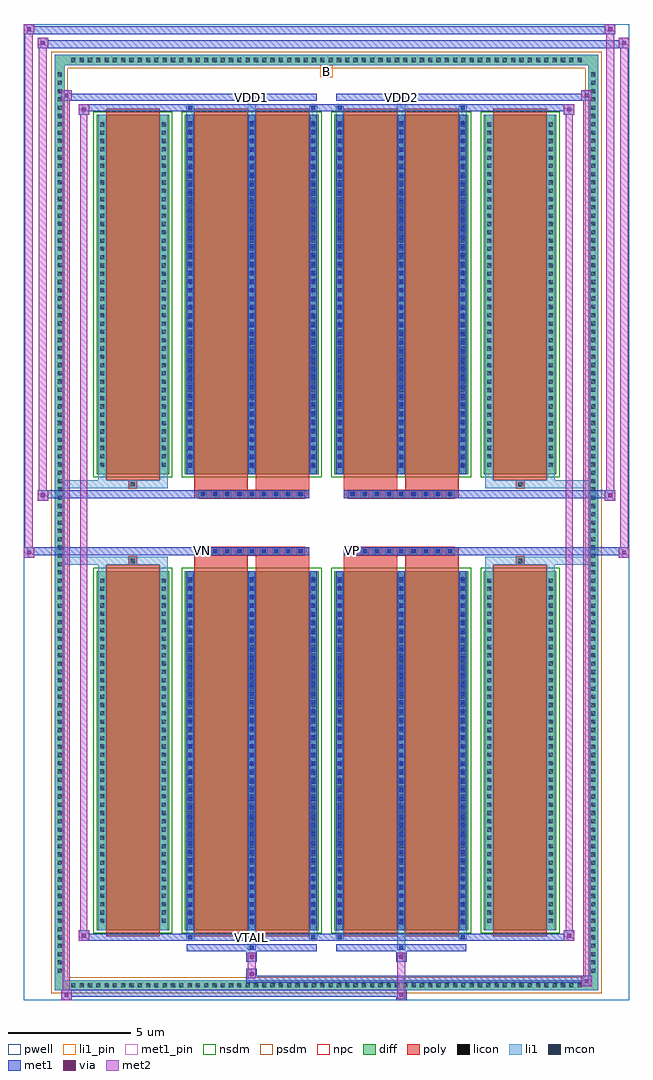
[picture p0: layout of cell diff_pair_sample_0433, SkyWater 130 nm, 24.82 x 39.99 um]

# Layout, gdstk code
import gdstk
lib = gdstk.Library(unit=1e-6, precision=5e-09)
def R(c, l, rs):  # rectangles x0, y0, x1, y1
    for r in rs: c.add(gdstk.rectangle(r[:2], r[2:], *l))
def A(c, l, x, y, w, h, nx, ny, dx, dy):  # array of equal rectangles
    R(c, l, [(x+i*dx, y+j*dy, x+i*dx+w, y+j*dy+h) for i in range(nx) for j in range(ny)])
def P(c, l, *ps):  # polygons
    for p in ps: c.add(gdstk.Polygon(p, *l))
pwell = (64, 44)
diff = (65, 20)
poly = (66, 20)
licon = (66, 44)
li1_pin = (67, 16)
li1 = (67, 20)
mcon = (67, 44)
met1_pin = (68, 16)
met1 = (68, 20)
via = (68, 44)
met2 = (69, 20)
nsdm = (93, 44)
psdm = (94, 20)
npc = (95, 20)

diff_pair_sample_0433 = lib.new_cell('diff_pair_sample_0433')
R(diff_pair_sample_0433, pwell, [(-12.41,-19.56,12.41,20.43), (-9.73,-17.75,-0.01,-0.805), (0.01,-17.75,9.73,-0.805), (-9.73,0.805,-0.01,17.75), (0.01,0.805,9.73,17.75)])
A(diff_pair_sample_0433, diff, -10.575, -19.16, 0.41, 0.41, 62, 2, 0.34, 37.91)
A(diff_pair_sample_0433, diff, -11.14, -18.565, 0.41, 0.41, 1, 109, 0, 0.34)
A(diff_pair_sample_0433, diff, 10.73, -18.565, 0.41, 0.41, 1, 109, 0, 0.34)
R(diff_pair_sample_0433, diff, [(-10.575,-19.16,10.575,-18.75), (-11.14,-18.565,-10.73,18.565), (10.73,-18.565,11.14,18.565), (-9.42,-16.705,-6.45,-1.985), (-5.81,-16.705,-0.32,-1.985), (0.32,-16.705,5.81,-1.985), (6.45,-16.705,9.42,-1.985), (-9.42,1.985,-6.45,16.705), (-5.81,1.985,-0.32,16.705), (0.32,1.985,5.81,16.705), (6.45,1.985,9.42,16.705), (-10.575,18.75,10.575,19.16)])
P(diff_pair_sample_0433, diff, [(11.14,19.16),(-11.14,19.16),(-11.14,-18.75),(-10.73,-18.75),(-10.73,18.75),(10.73,18.75),(10.73,-18.75),(-10.73,-18.75),(-11.14,-18.75),(-11.14,-19.16),(11.14,-19.16)])
A(diff_pair_sample_0433, poly, -5.23, -1.335, 0.33, 0.33, 9, 2, 0.5, 2.34)
A(diff_pair_sample_0433, poly, 0.9, -1.335, 0.33, 0.33, 9, 2, 0.5, 2.34)
R(diff_pair_sample_0433, poly, [(-9.03,-16.955,-6.84,-1.735), (-5.42,-16.955,-3.23,-1.735), (-2.9,-16.955,-0.71,-1.735), (0.71,-16.955,2.9,-1.735), (3.23,-16.955,5.42,-1.735), (6.84,-16.955,9.03,-1.735), (-8.1,-1.735,-7.77,-1.405), (-8.1,-1.735,-7.77,-1.405), (-5.42,-1.735,-3.23,-1.335), (-2.9,-1.735,-0.71,-1.335), (0.71,-1.735,2.9,-1.335), (3.23,-1.735,5.42,-1.335), (7.77,-1.735,8.1,-1.405), (7.77,-1.735,8.1,-1.405), (-5.42,-1.335,-0.71,-1.005), (0.71,-1.335,5.42,-1.005), (-5.42,1.005,-0.71,1.335), (0.71,1.005,5.42,1.335), (-5.42,1.335,-3.23,1.735), (-2.9,1.335,-0.71,1.735), (0.71,1.335,2.9,1.735), (3.23,1.335,5.42,1.735), (-8.1,1.405,-7.77,1.735), (-8.1,1.405,-7.77,1.735), (7.77,1.405,8.1,1.735), (7.77,1.405,8.1,1.735), (-9.03,1.735,-6.84,16.955), (-5.42,1.735,-3.23,16.955), (-2.9,1.735,-0.71,16.955), (0.71,1.735,2.9,16.955), (3.23,1.735,5.42,16.955), (6.84,1.735,9.03,16.955)])
A(diff_pair_sample_0433, licon, -10.455, -19.04, 0.17, 0.17, 62, 2, 0.34, 37.91)
A(diff_pair_sample_0433, licon, -11.02, -18.445, 0.17, 0.17, 1, 109, 0, 0.34)
A(diff_pair_sample_0433, licon, 10.85, -18.445, 0.17, 0.17, 1, 109, 0, 0.34)
A(diff_pair_sample_0433, licon, -9.28, -16.4, 0.17, 0.17, 1, 42, 0, 0.34)
A(diff_pair_sample_0433, licon, -6.76, -16.4, 0.17, 0.17, 1, 42, 0, 0.34)
A(diff_pair_sample_0433, licon, -5.67, -16.4, 0.17, 0.17, 3, 42, 2.52, 0.34)
A(diff_pair_sample_0433, licon, 0.46, -16.4, 0.17, 0.17, 3, 42, 2.52, 0.34)
A(diff_pair_sample_0433, licon, 6.59, -16.4, 0.17, 0.17, 1, 42, 0, 0.34)
A(diff_pair_sample_0433, licon, 9.11, -16.4, 0.17, 0.17, 1, 42, 0, 0.34)
A(diff_pair_sample_0433, licon, -5.15, -1.255, 0.17, 0.17, 9, 2, 0.5, 2.34)
A(diff_pair_sample_0433, licon, 0.98, -1.255, 0.17, 0.17, 9, 2, 0.5, 2.34)
A(diff_pair_sample_0433, licon, -9.28, 2.29, 0.17, 0.17, 1, 42, 0, 0.34)
A(diff_pair_sample_0433, licon, -6.76, 2.29, 0.17, 0.17, 1, 42, 0, 0.34)
A(diff_pair_sample_0433, licon, -5.67, 2.29, 0.17, 0.17, 3, 42, 2.52, 0.34)
A(diff_pair_sample_0433, licon, 0.46, 2.29, 0.17, 0.17, 3, 42, 2.52, 0.34)
A(diff_pair_sample_0433, licon, 6.59, 2.29, 0.17, 0.17, 1, 42, 0, 0.34)
A(diff_pair_sample_0433, licon, 9.11, 2.29, 0.17, 0.17, 1, 42, 0, 0.34)
R(diff_pair_sample_0433, licon, [(-8.02,-1.655,-7.85,-1.485), (7.85,-1.655,8.02,-1.485), (-8.02,1.485,-7.85,1.655), (7.85,1.485,8.02,1.655)])
R(diff_pair_sample_0433, li1_pin, [(-0.25,18.25,0.25,18.75)])
A(diff_pair_sample_0433, li1, -10.535, -19.12, 0.33, 0.33, 62, 2, 0.34, 37.91)
A(diff_pair_sample_0433, li1, -11.1, -18.525, 0.33, 0.33, 1, 109, 0, 0.34)
A(diff_pair_sample_0433, li1, 10.77, -18.525, 0.33, 0.33, 1, 109, 0, 0.34)
A(diff_pair_sample_0433, li1, -5.75, -16.705, 0.33, 14.72, 3, 2, 2.52, 18.69)
A(diff_pair_sample_0433, li1, 0.38, -16.705, 0.33, 14.72, 3, 2, 2.52, 18.69)
A(diff_pair_sample_0433, li1, -9.36, -16.48, 0.33, 0.33, 1, 42, 0, 0.34)
A(diff_pair_sample_0433, li1, -6.84, -16.48, 0.33, 0.33, 1, 42, 0, 0.34)
A(diff_pair_sample_0433, li1, -5.75, -16.48, 0.33, 0.33, 3, 42, 2.52, 0.34)
A(diff_pair_sample_0433, li1, 0.38, -16.48, 0.33, 0.33, 3, 42, 2.52, 0.34)
A(diff_pair_sample_0433, li1, 6.51, -16.48, 0.33, 0.33, 1, 42, 0, 0.34)
A(diff_pair_sample_0433, li1, 9.03, -16.48, 0.33, 0.33, 1, 42, 0, 0.34)
A(diff_pair_sample_0433, li1, -5.67, -16.45, 0.17, 0.17, 3, 40, 2.52, 0.36)
A(diff_pair_sample_0433, li1, -5.67, -16.45, 0.17, 14.21, 3, 2, 2.52, 18.69)
A(diff_pair_sample_0433, li1, 0.46, -16.45, 0.17, 0.17, 3, 40, 2.52, 0.36)
A(diff_pair_sample_0433, li1, 0.46, -16.45, 0.17, 14.21, 3, 2, 2.52, 18.69)
A(diff_pair_sample_0433, li1, -5.23, -1.335, 0.33, 0.33, 9, 2, 0.5, 2.34)
A(diff_pair_sample_0433, li1, 0.9, -1.335, 0.33, 0.33, 9, 2, 0.5, 2.34)
A(diff_pair_sample_0433, li1, -9.36, 2.21, 0.33, 0.33, 1, 42, 0, 0.34)
A(diff_pair_sample_0433, li1, -6.84, 2.21, 0.33, 0.33, 1, 42, 0, 0.34)
A(diff_pair_sample_0433, li1, -5.75, 2.21, 0.33, 0.33, 3, 42, 2.52, 0.34)
A(diff_pair_sample_0433, li1, 0.38, 2.21, 0.33, 0.33, 3, 42, 2.52, 0.34)
A(diff_pair_sample_0433, li1, 6.51, 2.21, 0.33, 0.33, 1, 42, 0, 0.34)
A(diff_pair_sample_0433, li1, 9.03, 2.21, 0.33, 0.33, 1, 42, 0, 0.34)
A(diff_pair_sample_0433, li1, -5.67, 2.24, 0.17, 0.17, 3, 40, 2.52, 0.36)
A(diff_pair_sample_0433, li1, 0.46, 2.24, 0.17, 0.17, 3, 40, 2.52, 0.36)
R(diff_pair_sample_0433, li1, [(-11.14,-19.16,-10.73,-18.75), (-11.14,-19.16,-10.73,-18.75), (-10.73,-19.16,10.73,-18.75), (10.73,-19.16,11.14,-18.75), (10.73,-19.16,11.14,-18.75), (-11.14,-18.75,-10.73,18.75), (10.73,-18.75,11.14,18.75), (-3.23,-17.51,-2.9,-16.705), (-3.15,-17.51,-2.98,-17.34), (2.9,-17.51,3.23,-16.705), (2.98,-17.51,3.15,-17.34), (-5.75,-17.08,-5.42,-16.705), (-5.67,-17.08,-5.5,-16.91), (-0.71,-17.08,-0.38,-16.705), (-0.63,-17.08,-0.46,-16.91), (0.38,-17.08,0.71,-16.705), (0.46,-17.08,0.63,-16.91), (5.42,-17.08,5.75,-16.705), (5.5,-17.08,5.67,-16.91), (-9.36,-16.705,-9.03,-1.985), (-6.84,-16.705,-6.51,-1.985), (6.51,-16.705,6.84,-1.985), (9.03,-16.705,9.36,-1.985), (-9.36,-1.985,-9.03,-1.405), (-6.84,-1.985,-6.51,-1.405), (6.51,-1.985,6.84,-1.405), (9.03,-1.985,9.36,-1.405), (-11.14,-1.735,-8.1,-1.405), (-9.36,-1.735,-8.1,-1.405), (-8.1,-1.735,-7.77,-1.405), (-7.77,-1.735,-6.51,-1.405), (6.51,-1.735,7.77,-1.405), (7.77,-1.735,8.1,-1.405), (7.77,-1.735,11.14,-1.405), (8.1,-1.735,9.36,-1.405), (-11.14,1.405,-8.1,1.735), (-9.36,1.405,-8.1,1.735), (-9.36,1.405,-9.03,1.985), (-8.1,1.405,-7.77,1.735), (-7.77,1.405,-6.51,1.735), (-6.84,1.405,-6.51,1.985), (6.51,1.405,7.77,1.735), (6.51,1.405,6.84,1.985), (7.77,1.405,8.1,1.735), (7.77,1.405,11.14,1.735), (8.1,1.405,9.36,1.735), (9.03,1.405,9.36,1.985), (-9.36,1.985,-9.03,16.705), (-6.84,1.985,-6.51,16.705), (6.51,1.985,6.84,16.705), (9.03,1.985,9.36,16.705), (-5.75,16.705,-5.42,17.08), (-3.23,16.705,-2.9,17.51), (-0.71,16.705,-0.38,17.08), (0.38,16.705,0.71,17.08), (2.9,16.705,3.23,17.51), (5.42,16.705,5.75,17.08), (-5.67,16.91,-5.5,17.08), (-0.63,16.91,-0.46,17.08), (0.46,16.91,0.63,17.08), (5.5,16.91,5.67,17.08), (-3.15,17.34,-2.98,17.51), (2.98,17.34,3.15,17.51), (-11.14,18.75,-10.73,19.16), (-11.14,18.75,-10.73,19.16), (-10.73,18.75,10.73,19.16), (10.73,18.75,11.14,19.16), (10.73,18.75,11.14,19.16)])
A(diff_pair_sample_0433, mcon, -5.67, -16.45, 0.17, 0.17, 3, 40, 2.52, 0.36)
A(diff_pair_sample_0433, mcon, 0.46, -16.45, 0.17, 0.17, 3, 40, 2.52, 0.36)
A(diff_pair_sample_0433, mcon, -5.15, -1.255, 0.17, 0.17, 9, 2, 0.5, 2.34)
A(diff_pair_sample_0433, mcon, 0.98, -1.255, 0.17, 0.17, 9, 2, 0.5, 2.34)
A(diff_pair_sample_0433, mcon, -5.67, 2.24, 0.17, 0.17, 3, 40, 2.52, 0.36)
A(diff_pair_sample_0433, mcon, 0.46, 2.24, 0.17, 0.17, 3, 40, 2.52, 0.36)
R(diff_pair_sample_0433, mcon, [(-3.15,-17.51,-2.98,-17.34), (2.98,-17.51,3.15,-17.34), (-5.67,-17.08,-5.5,-16.91), (-0.63,-17.08,-0.46,-16.91), (0.46,-17.08,0.63,-16.91), (5.5,-17.08,5.67,-16.91), (-5.67,16.91,-5.5,17.08), (-0.63,16.91,-0.46,17.08), (0.46,16.91,0.63,17.08), (5.5,16.91,5.67,17.08), (-3.15,17.34,-2.98,17.51), (2.98,17.34,3.15,17.51)])
R(diff_pair_sample_0433, met1_pin, [(-3.2,-17.12,-2.93,-16.85), (-5.2,-1.295,-4.93,-1.025), (0.93,-1.295,1.2,-1.025), (-3.2,17.3,-2.93,17.57), (2.93,17.3,3.2,17.57)])
A(diff_pair_sample_0433, met1, -5.73, -16.705, 0.29, 14.72, 3, 2, 2.52, 18.69)
A(diff_pair_sample_0433, met1, 0.4, -16.705, 0.29, 14.72, 3, 2, 2.52, 18.69)
A(diff_pair_sample_0433, met1, -5.73, -16.51, 0.29, 0.29, 3, 40, 2.52, 0.36)
A(diff_pair_sample_0433, met1, 0.4, -16.51, 0.29, 0.29, 3, 40, 2.52, 0.36)
A(diff_pair_sample_0433, met1, -5.21, -1.315, 0.29, 0.29, 9, 2, 0.5, 2.34)
A(diff_pair_sample_0433, met1, 0.92, -1.315, 0.29, 0.29, 9, 2, 0.5, 2.34)
A(diff_pair_sample_0433, met1, -5.73, 2.18, 0.29, 0.29, 3, 40, 2.52, 0.36)
A(diff_pair_sample_0433, met1, 0.4, 2.18, 0.29, 0.29, 3, 40, 2.52, 0.36)
R(diff_pair_sample_0433, met1, [(-10.87,-19.56,-10.44,-19.13), (2.85,-19.56,3.28,-19.13), (-10.87,-19.42,3.28,-19.13), (10.44,-18.99,10.87,-18.56), (-3.28,-18.85,10.87,-18.56), (-3.28,-18.71,-2.85,-18.28), (-3.28,-18,-2.85,-17.57), (2.85,-18,3.28,-17.57), (-5.73,-17.57,-0.4,-17.28), (-3.21,-17.57,-2.92,-17.28), (0.4,-17.57,5.73,-17.28), (2.92,-17.57,3.21,-17.28), (-10.16,-17.14,-9.73,-16.71), (-10.16,-17.14,-5.73,-16.85), (-5.73,-17.14,-5.44,-16.85), (-5.73,-17.14,-0.4,-16.85), (-0.69,-17.14,-0.4,-16.85), (-0.4,-17.14,0.4,-16.85), (0.4,-17.14,0.69,-16.85), (0.4,-17.14,5.73,-16.85), (5.44,-17.14,5.73,-16.85), (5.73,-17.14,10.16,-16.85), (9.73,-17.14,10.16,-16.71), (-12.41,-1.435,-11.98,-1.005), (11.98,-1.435,12.41,-1.005), (-12.41,-1.335,-0.71,-1.005), (-5.42,-1.335,-0.71,-1.005), (0.71,-1.335,5.42,-1.005), (0.71,-1.335,12.41,-1.005), (-11.84,0.905,-11.41,1.335), (11.41,0.905,11.84,1.335), (-11.84,1.005,-5.42,1.335), (-5.42,1.005,-0.71,1.335), (0.71,1.005,5.42,1.335), (5.42,1.005,11.84,1.335), (-10.16,16.71,-9.73,17.14), (9.73,16.71,10.16,17.14), (-10.16,16.85,-5.73,17.14), (-5.73,16.85,-5.44,17.14), (-5.73,16.85,-0.4,17.14), (-0.69,16.85,-0.4,17.14), (-0.4,16.85,0.4,17.14), (0.4,16.85,0.69,17.14), (0.4,16.85,5.73,17.14), (5.44,16.85,5.73,17.14), (5.73,16.85,10.16,17.14), (-10.87,17.28,-10.44,17.71), (-10.87,17.28,-5.73,17.57), (-5.73,17.28,-0.4,17.57), (-3.21,17.28,-2.92,17.57), (0.4,17.28,5.73,17.57), (2.92,17.28,3.21,17.57), (5.73,17.28,10.87,17.57), (10.44,17.28,10.87,17.71), (-11.84,19.43,-11.41,19.86), (-11.84,19.43,-9.73,19.76), (-9.73,19.43,9.73,19.76), (9.73,19.43,12.41,19.76), (11.98,19.43,12.41,19.86), (-12.41,20,-11.98,20.43), (-12.41,20,-9.73,20.33), (-9.73,20,9.73,20.33), (9.73,20,11.84,20.33), (11.41,20,11.84,20.43)])
R(diff_pair_sample_0433, via, [(-10.73,-19.42,-10.58,-19.27), (2.99,-19.42,3.14,-19.27), (10.58,-18.85,10.73,-18.7), (-3.14,-18.57,-2.99,-18.42), (-3.14,-17.86,-2.99,-17.71), (2.99,-17.86,3.14,-17.71), (-10.02,-17,-9.87,-16.85), (9.87,-17,10.02,-16.85), (-12.27,-1.295,-12.12,-1.145), (12.12,-1.295,12.27,-1.145), (-11.7,1.045,-11.55,1.195), (11.55,1.045,11.7,1.195), (-10.02,16.85,-9.87,17), (9.87,16.85,10.02,17), (-10.73,17.42,-10.58,17.57), (10.58,17.42,10.73,17.57), (-11.7,19.57,-11.55,19.72), (12.12,19.57,12.27,19.72), (-12.27,20.14,-12.12,20.29), (11.55,20.14,11.7,20.29)])
R(diff_pair_sample_0433, met2, [(-10.87,-19.56,-10.44,-19.13), (-10.8,-19.56,-10.51,17.71), (-10.51,-19.56,-10.44,-19.13), (-10.82,-19.51,-10.49,-19.18), (2.9,-19.51,3.23,-19.18), (2.9,-19.18,3.23,-17.95), (10.44,-18.99,10.87,-18.56), (10.51,-18.99,10.8,17.71), (10.8,-18.99,10.87,-18.56), (10.49,-18.94,10.82,-18.61), (-3.23,-18.66,-2.9,-18.33), (-3.23,-18.33,-2.9,-17.95), (-3.23,-17.95,-2.9,-17.62), (2.9,-17.95,3.23,-17.62), (-10.16,-17.14,-9.73,-16.71), (-10.09,-17.14,-9.8,17.14), (-9.8,-17.14,-9.73,-16.71), (9.73,-17.14,10.16,-16.71), (9.8,-17.14,10.09,17.14), (10.09,-17.14,10.16,-16.71), (-10.11,-17.09,-9.78,-16.76), (9.78,-17.09,10.11,-16.76), (-12.41,-1.435,-11.98,-1.005), (-12.36,-1.435,-12.03,20.43), (-12.03,-1.435,-11.98,-1.005), (11.98,-1.435,12.41,-1.005), (12.03,-1.435,12.36,19.86), (12.36,-1.435,12.41,-1.005), (-12.36,-1.385,-12.03,-1.055), (12.03,-1.385,12.36,-1.055), (-11.84,0.905,-11.41,1.335), (-11.79,0.905,-11.46,19.86), (-11.46,0.905,-11.41,1.335), (11.41,0.905,11.84,1.335), (11.46,0.905,11.79,20.43), (11.79,0.905,11.84,1.335), (-11.79,0.955,-11.46,1.285), (11.46,0.955,11.79,1.285), (-10.16,16.71,-9.73,17.14), (-9.8,16.71,-9.73,17.14), (9.73,16.71,10.16,17.14), (10.09,16.71,10.16,17.14), (-10.11,16.76,-9.78,17.09), (9.78,16.76,10.11,17.09), (-10.87,17.28,-10.44,17.71), (-10.51,17.28,-10.44,17.71), (10.44,17.28,10.87,17.71), (10.8,17.28,10.87,17.71), (-10.82,17.33,-10.49,17.66), (10.49,17.33,10.82,17.66), (-11.84,19.43,-11.41,19.86), (-11.46,19.43,-11.41,19.86), (11.98,19.43,12.41,19.86), (12.36,19.43,12.41,19.86), (-11.79,19.48,-11.46,19.81), (12.03,19.48,12.36,19.81), (-12.41,20,-11.98,20.43), (-12.03,20,-11.98,20.43), (11.41,20,11.84,20.43), (11.79,20,11.84,20.43), (-12.36,20.05,-12.03,20.38), (11.46,20.05,11.79,20.38)])
R(diff_pair_sample_0433, nsdm, [(-9.55,-16.835,-6.32,-1.855), (-5.94,-16.835,-0.19,-1.855), (0.19,-16.835,5.94,-1.855), (6.32,-16.835,9.55,-1.855), (-9.55,1.855,-6.32,16.835), (-5.94,1.855,-0.19,16.835), (0.19,1.855,5.94,16.835), (6.32,1.855,9.55,16.835)])
P(diff_pair_sample_0433, psdm, [(11.27,19.29),(-11.27,19.29),(-11.27,-18.62),(-10.6,-18.62),(-10.6,18.62),(10.6,18.62),(10.6,-18.62),(-10.6,-18.62),(-11.27,-18.62),(-11.27,-19.29),(11.27,-19.29)])
A(diff_pair_sample_0433, npc, -5.25, -1.355, 0.37, 0.37, 9, 2, 0.5, 2.34)
A(diff_pair_sample_0433, npc, 0.88, -1.355, 0.37, 0.37, 9, 2, 0.5, 2.34)
R(diff_pair_sample_0433, npc, [(-8.12,-1.755,-7.75,-1.385), (7.75,-1.755,8.12,-1.385), (-5.25,-1.355,-4.38,-0.985), (-5.25,-1.355,-4.38,-0.985), (-4.75,-1.355,-3.88,-0.985), (-4.75,-1.355,-3.88,-0.985), (-4.25,-1.355,-3.38,-0.985), (-4.25,-1.355,-3.38,-0.985), (-3.75,-1.355,-2.88,-0.985), (-3.75,-1.355,-2.88,-0.985), (-3.25,-1.355,-2.38,-0.985), (-3.25,-1.355,-2.38,-0.985), (-2.75,-1.355,-1.88,-0.985), (-2.75,-1.355,-1.88,-0.985), (-2.25,-1.355,-1.38,-0.985), (-2.25,-1.355,-1.38,-0.985), (-1.75,-1.355,-0.88,-0.985), (-1.75,-1.355,-0.88,-0.985), (0.88,-1.355,1.75,-0.985), (0.88,-1.355,1.75,-0.985), (1.38,-1.355,2.25,-0.985), (1.38,-1.355,2.25,-0.985), (1.88,-1.355,2.75,-0.985), (1.88,-1.355,2.75,-0.985), (2.38,-1.355,3.25,-0.985), (2.38,-1.355,3.25,-0.985), (2.88,-1.355,3.75,-0.985), (2.88,-1.355,3.75,-0.985), (3.38,-1.355,4.25,-0.985), (3.38,-1.355,4.25,-0.985), (3.88,-1.355,4.75,-0.985), (3.88,-1.355,4.75,-0.985), (4.38,-1.355,5.25,-0.985), (4.38,-1.355,5.25,-0.985), (-5.25,0.985,-4.38,1.355), (-5.25,0.985,-4.38,1.355), (-4.75,0.985,-3.88,1.355), (-4.75,0.985,-3.88,1.355), (-4.25,0.985,-3.38,1.355), (-4.25,0.985,-3.38,1.355), (-3.75,0.985,-2.88,1.355), (-3.75,0.985,-2.88,1.355), (-3.25,0.985,-2.38,1.355), (-3.25,0.985,-2.38,1.355), (-2.75,0.985,-1.88,1.355), (-2.75,0.985,-1.88,1.355), (-2.25,0.985,-1.38,1.355), (-2.25,0.985,-1.38,1.355), (-1.75,0.985,-0.88,1.355), (-1.75,0.985,-0.88,1.355), (0.88,0.985,1.75,1.355), (0.88,0.985,1.75,1.355), (1.38,0.985,2.25,1.355), (1.38,0.985,2.25,1.355), (1.88,0.985,2.75,1.355), (1.88,0.985,2.75,1.355), (2.38,0.985,3.25,1.355), (2.38,0.985,3.25,1.355), (2.88,0.985,3.75,1.355), (2.88,0.985,3.75,1.355), (3.38,0.985,4.25,1.355), (3.38,0.985,4.25,1.355), (3.88,0.985,4.75,1.355), (3.88,0.985,4.75,1.355), (4.38,0.985,5.25,1.355), (4.38,0.985,5.25,1.355), (-8.12,1.385,-7.75,1.755), (7.75,1.385,8.12,1.755)])
diff_pair_sample_0433.add(gdstk.Label('VTAIL', (-3.065,-16.985), layer=68, texttype=5))
diff_pair_sample_0433.add(gdstk.Label('VN', (-5.065,-1.16), layer=68, texttype=5))
diff_pair_sample_0433.add(gdstk.Label('VP', (1.065,-1.16), layer=68, texttype=5))
diff_pair_sample_0433.add(gdstk.Label('B', (0,18.5), layer=67, texttype=5))
diff_pair_sample_0433.add(gdstk.Label('VDD2', (3.065,17.435), layer=68, texttype=5))
diff_pair_sample_0433.add(gdstk.Label('VDD1', (-3.065,17.435), layer=68, texttype=5))

lib.write_gds('diff_pair_sample_0433.gds')
